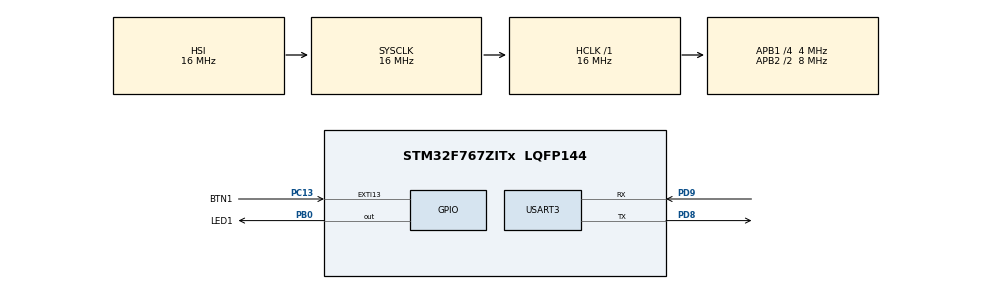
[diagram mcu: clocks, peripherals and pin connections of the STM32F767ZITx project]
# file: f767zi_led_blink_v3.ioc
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CORTEX_M7.default_mode_Activation=1
Mcu.Family=STM32F7
Mcu.Name=STM32F767ZITx
Mcu.Package=LQFP144
NVIC.EXTI15_10_IRQn=true\:0\:0\:false\:false\:true\:true\:true\:true
NVIC.PriorityGroup=NVIC_PRIORITYGROUP_4
PA13.Mode=Serial_Wire
PA13.Signal=SYS_JTMS-SWDIO
PA14.Mode=Serial_Wire
PA14.Signal=SYS_JTCK-SWCLK
PB0.GPIO_Label=LED1
PB0.Signal=GPIO_Output
PC13.GPIO_Label=BTN1
PC13.Signal=GPXTI13
PD8.Mode=Asynchronous
PD8.Signal=USART3_TX
PD9.Mode=Asynchronous
PD9.Signal=USART3_RX
PH0/OSC_IN.Mode=HSE-External-Oscillator
PH0/OSC_IN.Signal=RCC_OSC_IN
PH1/OSC_OUT.Mode=HSE-External-Oscillator
PH1/OSC_OUT.Signal=RCC_OSC_OUT
ProjectManager.HeapSize=0x200
ProjectManager.StackSize=0x400
ProjectManager.TargetToolchain=STM32CubeIDE
RCC.AHBFreq_Value=16000000
RCC.APB1CLKDivider=RCC_HCLK_DIV4
RCC.APB1Freq_Value=4000000
RCC.APB1TimFreq_Value=8000000
RCC.APB2CLKDivider=RCC_HCLK_DIV2
RCC.APB2Freq_Value=8000000
RCC.APB2TimFreq_Value=16000000
RCC.CortexFreq_Value=16000000
RCC.HCLKFreq_Value=16000000
RCC.HSE_VALUE=25000000
RCC.HSI_VALUE=16000000
RCC.LSE_VALUE=32768
RCC.PLLM=12
RCC.PLLN=96
RCC.SYSCLKFreq_VALUE=16000000
RCC.USBFreq_Value=64000000
RCC.VCOOutputFreq_Value=128000000
USART3.VirtualMode-Asynchronous=VM_ASYNC
board=custom

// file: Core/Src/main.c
/* USER CODE BEGIN Header */
/**
  ******************************************************************************
  * @file           : main.c
  * @brief          : Main program body
  ******************************************************************************
  * @attention
  *
  * Copyright (c) 2025 STMicroelectronics.
  * All rights reserved.
  *
  * This software is licensed under terms that can be found in the LICENSE file
  * in the root directory of this software component.
  * If no LICENSE file comes with this software, it is provided AS-IS.
  *
  ******************************************************************************
  */
/* USER CODE END Header */
#include "main.h"

/* USER CODE BEGIN Includes */
#include <stdio.h>
#include <stdbool.h>
/* USER CODE END Includes */

UART_HandleTypeDef huart3;

/* USER CODE BEGIN PV */
uint8_t btn_pressed=0;
uint16_t blink_delays[]={
		500,250,100
};
uint8_t blink_delay=0;
/* USER CODE END PV */

void SystemClock_Config(void);
static void MPU_Config(void);
static void MX_GPIO_Init(void);
static void MX_USART3_UART_Init(void);

/* USER CODE BEGIN 0 */

// redirect printf to uart3
// fd == file descriptor. 1 = stdout, 2 stderr
// ptr == pointer to the data being sent
// len == length of the data (in bytes)
int _write(int fd, char* ptr, int len) {
 HAL_StatusTypeDef hstatus;

 if (fd == 1 || fd == 2) {
   hstatus = HAL_UART_Transmit(&huart3, (uint8_t *) ptr, len, HAL_MAX_DELAY);
   if (hstatus == HAL_OK)
     return len;
   else
     return -1;
 }
 return -1;
}

void HAL_GPIO_EXTI_Callback(uint16_t GPIO_Pin){
	if (GPIO_Pin == BTN1_Pin){
		btn_pressed = 1;
	}
}
/* USER CODE END 0 */

int main(void)
{

  /* MPU Configuration--------------------------------------------------------*/
  MPU_Config();

  /* MCU Configuration--------------------------------------------------------*/

  /* Reset of all peripherals, Initializes the Flash interface and the Systick. */
  HAL_Init();

  /* Configure the system clock */
  SystemClock_Config();

  /* Initialize all configured peripherals */
  MX_GPIO_Init();
  MX_USART3_UART_Init();
  /* USER CODE BEGIN 2 */
  if (__HAL_RCC_GET_FLAG(RCC_FLAG_HSERDY)) {
      printf("HSE is present and running\r\n");
  } else {
      printf("HSE not detected - using HSI\r\n");  // You'll likely see this
  }
  uint32_t now = 0,last_blink=0,last_tick=0,loop_count = 0;
  printf("Blink V3 starting\r\n");
  /* USER CODE END 2 */

  /* Infinite loop */
  /* USER CODE BEGIN WHILE */
  while (1)
  {
	  now = HAL_GetTick();
	  if (now - last_blink >= blink_delays[blink_delay]){
		  printf("Toggling the LED!\r\n");
		  HAL_GPIO_TogglePin(LED1_GPIO_Port,LED1_Pin);
		  last_blink = now;
	  }
	  if ((now-last_tick) >=1000){
		  printf("Tick %lu (loop count = %lu)\r\n",now/1000,loop_count);
		  loop_count = 0;
		  last_tick=now;
	  }
	  if (btn_pressed == 1){
		  printf("Button pressed!\r\n");
		  blink_delay++;
		  uint8_t array_len = sizeof(blink_delays)/sizeof(blink_delays[0]);
		  if(blink_delay>=array_len){
			  blink_delay=0;
		  }
		  btn_pressed=0;
	  }
	  ++loop_count;
  }
    /* USER CODE END WHILE */

}

void SystemClock_Config(void)
{
  RCC_OscInitTypeDef RCC_OscInitStruct = {0};
  RCC_ClkInitTypeDef RCC_ClkInitStruct = {0};

  /** Configure the main internal regulator output voltage
  */
  __HAL_RCC_PWR_CLK_ENABLE();
  __HAL_PWR_VOLTAGESCALING_CONFIG(PWR_REGULATOR_VOLTAGE_SCALE3);

  /** Initializes the RCC Oscillators according to the specified parameters
  * in the RCC_OscInitTypeDef structure.
  */
  RCC_OscInitStruct.OscillatorType = RCC_OSCILLATORTYPE_HSI;
  RCC_OscInitStruct.HSIState = RCC_HSI_ON;
  RCC_OscInitStruct.HSICalibrationValue = RCC_HSICALIBRATION_DEFAULT;
  RCC_OscInitStruct.PLL.PLLState = RCC_PLL_NONE;
  if (HAL_RCC_OscConfig(&RCC_OscInitStruct) != HAL_OK)
  {
    Error_Handler();
  }

  /** Initializes the CPU, AHB and APB buses clocks
  */
  RCC_ClkInitStruct.ClockType = RCC_CLOCKTYPE_HCLK|RCC_CLOCKTYPE_SYSCLK
                              |RCC_CLOCKTYPE_PCLK1|RCC_CLOCKTYPE_PCLK2;
  RCC_ClkInitStruct.SYSCLKSource = RCC_SYSCLKSOURCE_HSI;
  RCC_ClkInitStruct.AHBCLKDivider = RCC_SYSCLK_DIV1;
  RCC_ClkInitStruct.APB1CLKDivider = RCC_HCLK_DIV4;
  RCC_ClkInitStruct.APB2CLKDivider = RCC_HCLK_DIV2;

  if (HAL_RCC_ClockConfig(&RCC_ClkInitStruct, FLASH_LATENCY_0) != HAL_OK)
  {
    Error_Handler();
  }
}

static void MX_USART3_UART_Init(void)
{

  huart3.Instance = USART3;
  huart3.Init.BaudRate = 115200;
  huart3.Init.WordLength = UART_WORDLENGTH_8B;
  huart3.Init.StopBits = UART_STOPBITS_1;
  huart3.Init.Parity = UART_PARITY_NONE;
  huart3.Init.Mode = UART_MODE_TX_RX;
  huart3.Init.HwFlowCtl = UART_HWCONTROL_NONE;
  huart3.Init.OverSampling = UART_OVERSAMPLING_16;
  huart3.Init.OneBitSampling = UART_ONE_BIT_SAMPLE_DISABLE;
  huart3.AdvancedInit.AdvFeatureInit = UART_ADVFEATURE_NO_INIT;
  if (HAL_UART_Init(&huart3) != HAL_OK)
  {
    Error_Handler();
  }

}

static void MX_GPIO_Init(void)
{
  GPIO_InitTypeDef GPIO_InitStruct = {0};
  /* USER CODE BEGIN MX_GPIO_Init_1 */
  __HAL_RCC_GPIOD_CLK_ENABLE();  // Enable GPIOD clock
  GPIO_InitStruct.Pin = GPIO_PIN_8 | GPIO_PIN_9;  // PD8 (TX), PD9 (RX)
  GPIO_InitStruct.Mode = GPIO_MODE_AF_PP;         // Alternate function push-pull
  GPIO_InitStruct.Pull = GPIO_NOPULL;             // No pull-up/pull-down
  GPIO_InitStruct.Speed = GPIO_SPEED_FREQ_VERY_HIGH;
  GPIO_InitStruct.Alternate = GPIO_AF7_USART3;    // Must be AF7 for USART3!
  HAL_GPIO_Init(GPIOD, &GPIO_InitStruct);
  /* USER CODE END MX_GPIO_Init_1 */

  /* GPIO Ports Clock Enable */
  __HAL_RCC_GPIOC_CLK_ENABLE();
  __HAL_RCC_GPIOH_CLK_ENABLE();
  __HAL_RCC_GPIOB_CLK_ENABLE();
  __HAL_RCC_GPIOD_CLK_ENABLE();
  __HAL_RCC_GPIOA_CLK_ENABLE();

  /*Configure GPIO pin Output Level */
  HAL_GPIO_WritePin(LED1_GPIO_Port, LED1_Pin, GPIO_PIN_RESET);

  /*Configure GPIO pin : BTN1_Pin */
  GPIO_InitStruct.Pin = BTN1_Pin;
  GPIO_InitStruct.Mode = GPIO_MODE_IT_RISING;
  GPIO_InitStruct.Pull = GPIO_NOPULL;
  HAL_GPIO_Init(BTN1_GPIO_Port, &GPIO_InitStruct);

  /*Configure GPIO pin : LED1_Pin */
  GPIO_InitStruct.Pin = LED1_Pin;
  GPIO_InitStruct.Mode = GPIO_MODE_OUTPUT_PP;
  GPIO_InitStruct.Pull = GPIO_NOPULL;
  GPIO_InitStruct.Speed = GPIO_SPEED_FREQ_LOW;
  HAL_GPIO_Init(LED1_GPIO_Port, &GPIO_InitStruct);

  /* EXTI interrupt init*/
  HAL_NVIC_SetPriority(EXTI15_10_IRQn, 0, 0);
  HAL_NVIC_EnableIRQ(EXTI15_10_IRQn);

}

 /* MPU Configuration */

void MPU_Config(void)
{
  MPU_Region_InitTypeDef MPU_InitStruct = {0};

  /* Disables the MPU */
  HAL_MPU_Disable();

  /** Initializes and configures the Region and the memory to be protected
  */
  MPU_InitStruct.Enable = MPU_REGION_ENABLE;
  MPU_InitStruct.Number = MPU_REGION_NUMBER0;
  MPU_InitStruct.BaseAddress = 0x0;
  MPU_InitStruct.Size = MPU_REGION_SIZE_4GB;
  MPU_InitStruct.SubRegionDisable = 0x87;
  MPU_InitStruct.TypeExtField = MPU_TEX_LEVEL0;
  MPU_InitStruct.AccessPermission = MPU_REGION_NO_ACCESS;
  MPU_InitStruct.DisableExec = MPU_INSTRUCTION_ACCESS_DISABLE;
  MPU_InitStruct.IsShareable = MPU_ACCESS_SHAREABLE;
  MPU_InitStruct.IsCacheable = MPU_ACCESS_NOT_CACHEABLE;
  MPU_InitStruct.IsBufferable = MPU_ACCESS_NOT_BUFFERABLE;

  HAL_MPU_ConfigRegion(&MPU_InitStruct);
  /* Enables the MPU */
  HAL_MPU_Enable(MPU_PRIVILEGED_DEFAULT);

}

void Error_Handler(void)
{
  __disable_irq();
  while (1)
  {
  }
}
